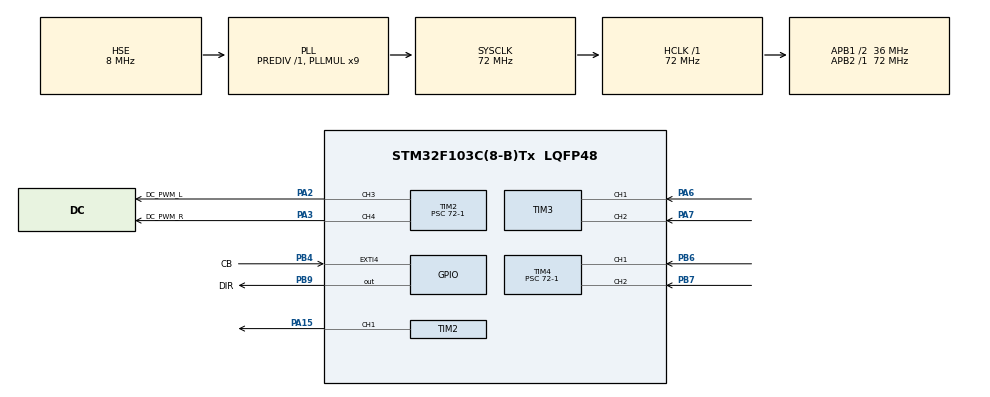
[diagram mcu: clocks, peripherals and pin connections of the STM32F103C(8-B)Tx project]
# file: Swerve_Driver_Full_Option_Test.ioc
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Mcu.Family=STM32F1
Mcu.Name=STM32F103C(8-B)Tx
Mcu.Package=LQFP48
NVIC.EXTI4_IRQn=true\:0\:0\:false\:false\:true\:true\:true\:true
NVIC.PriorityGroup=NVIC_PRIORITYGROUP_4
PA13.Mode=Serial_Wire
PA13.Signal=SYS_JTMS-SWDIO
PA14.Mode=Serial_Wire
PA14.Signal=SYS_JTCK-SWCLK
PA15.Signal=S_TIM2_CH1_ETR
PA2.GPIO_Label=DC_PWM_L
PA2.Signal=S_TIM2_CH3
PA3.GPIO_Label=DC_PWM_R
PA3.Signal=S_TIM2_CH4
PA6.Signal=S_TIM3_CH1
PA7.Signal=S_TIM3_CH2
PB4.GPIO_Label=CB
PB4.GPIO_ModeDefaultEXTI=GPIO_MODE_IT_FALLING
PB4.GPIO_PuPd=GPIO_PULLUP
PB4.Signal=GPXTI4
PB6.Signal=S_TIM4_CH1
PB7.Signal=S_TIM4_CH2
PB9.GPIO_Label=DIR
PB9.Signal=GPIO_Output
PD0-OSC_IN.Mode=HSE-External-Oscillator
PD0-OSC_IN.Signal=RCC_OSC_IN
PD1-OSC_OUT.Mode=HSE-External-Oscillator
PD1-OSC_OUT.Signal=RCC_OSC_OUT
ProjectManager.HeapSize=0x200
ProjectManager.StackSize=0x400
ProjectManager.TargetToolchain=STM32CubeIDE
RCC.AHBFreq_Value=72000000
RCC.APB1CLKDivider=RCC_HCLK_DIV2
RCC.APB1Freq_Value=36000000
RCC.APB1TimFreq_Value=72000000
RCC.APB2Freq_Value=72000000
RCC.APB2TimFreq_Value=72000000
RCC.HCLKFreq_Value=72000000
RCC.PLLMUL=RCC_PLL_MUL9
RCC.PLLSourceVirtual=RCC_PLLSOURCE_HSE
RCC.SYSCLKFreq_VALUE=72000000
RCC.SYSCLKSource=RCC_SYSCLKSOURCE_PLLCLK
RCC.USBFreq_Value=72000000
SH.S_TIM2_CH1_ETR.0=TIM2_CH1,PWM Generation1 CH1
SH.S_TIM2_CH3.0=TIM2_CH3,PWM Generation3 CH3
SH.S_TIM2_CH4.0=TIM2_CH4,PWM Generation4 CH4
SH.S_TIM3_CH1.0=TIM3_CH1,Encoder_Interface
SH.S_TIM3_CH2.0=TIM3_CH2,Encoder_Interface
SH.S_TIM4_CH1.0=TIM4_CH1,Encoder_Interface
SH.S_TIM4_CH2.0=TIM4_CH2,Encoder_Interface
TIM2.Channel-PWM\ Generation1\ CH1=TIM_CHANNEL_1
TIM2.Channel-PWM\ Generation3\ CH3=TIM_CHANNEL_3
TIM2.Channel-PWM\ Generation4\ CH4=TIM_CHANNEL_4
TIM2.Period=1000-1
TIM2.Prescaler=72-1
TIM3.IC1Polarity=TIM_ICPOLARITY_FALLING
TIM3.IC2Polarity=TIM_ICPOLARITY_FALLING
TIM4.EncoderMode=TIM_ENCODERMODE_TI12
TIM4.IC1Polarity=TIM_ICPOLARITY_FALLING
TIM4.IC2Polarity=TIM_ICPOLARITY_FALLING
TIM4.Period=1000-1
TIM4.Prescaler=72-1
board=custom

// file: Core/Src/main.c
/* USER CODE BEGIN Header */
/**
  ******************************************************************************
  * @file           : main.c
  * @brief          : Main program body
  ******************************************************************************
  * @attention
  *
  * Copyright (c) 2023 STMicroelectronics.
  * All rights reserved.
  *
  * This software is licensed under terms that can be found in the LICENSE file
  * in the root directory of this software component.
  * If no LICENSE file comes with this software, it is provided AS-IS.
  *
  ******************************************************************************
  */
/* USER CODE END Header */
#include "main.h"

TIM_HandleTypeDef htim2;
TIM_HandleTypeDef htim3;
TIM_HandleTypeDef htim4;

/* USER CODE BEGIN PV */
uint16_t pwm;
uint8_t wheeldir;
uint8_t angle;
uint16_t anglespeed;
uint8_t wheelecd;
uint8_t angleecd;
uint8_t count = 0;
/* USER CODE END PV */

void SystemClock_Config(void);
static void MX_GPIO_Init(void);
static void MX_TIM2_Init(void);
static void MX_TIM3_Init(void);
static void MX_TIM4_Init(void);

/* USER CODE BEGIN 0 */
void HAL_GPIO_EXTI_Callback(uint16_t GPIO_Pin){
	count++;
}
void Wheel_Speed(){
	__HAL_TIM_SET_COMPARE(&htim2, TIM_CHANNEL_1,pwm);
	HAL_GPIO_WritePin(DIR_GPIO_Port, DIR_Pin, wheeldir);
}
void Wheel_Angle(){
	if(angle == 0){
		__HAL_TIM_SET_COMPARE(&htim2, TIM_CHANNEL_4, 0);
		__HAL_TIM_SET_COMPARE(&htim2, TIM_CHANNEL_3, 0);
	}else if(angle == 1){
		__HAL_TIM_SET_COMPARE(&htim2, TIM_CHANNEL_4, anglespeed);
		__HAL_TIM_SET_COMPARE(&htim2, TIM_CHANNEL_3, 0);
	}else{
		__HAL_TIM_SET_COMPARE(&htim2, TIM_CHANNEL_3, anglespeed);
		__HAL_TIM_SET_COMPARE(&htim2, TIM_CHANNEL_4, 0);
	}
}
void Encoder_Get_Value(){
	wheelecd = __HAL_TIM_GET_COUNTER(&htim4);
	angleecd = __HAL_TIM_GET_COUNTER(&htim3);
}
/* USER CODE END 0 */

int main(void)
{

  /* MCU Configuration--------------------------------------------------------*/

  /* Reset of all peripherals, Initializes the Flash interface and the Systick. */
  HAL_Init();

  /* Configure the system clock */
  SystemClock_Config();

  /* Initialize all configured peripherals */
  MX_GPIO_Init();
  MX_TIM2_Init();
  MX_TIM3_Init();
  MX_TIM4_Init();
  /* USER CODE BEGIN 2 */

  HAL_TIM_PWM_Start(&htim2, TIM_CHANNEL_1);
  HAL_TIM_PWM_Start(&htim2, TIM_CHANNEL_3);
  HAL_TIM_PWM_Start(&htim2, TIM_CHANNEL_4);
  HAL_TIM_PWM_Start(&htim4, TIM_CHANNEL_4);
  HAL_TIM_Encoder_Start(&htim3, TIM_CHANNEL_ALL);
  HAL_TIM_Encoder_Start(&htim4, TIM_CHANNEL_ALL);
  /* USER CODE END 2 */

  /* Infinite loop */
  /* USER CODE BEGIN WHILE */
  while (1)
  {
	  Wheel_Angle();
	  Wheel_Speed();
	  Encoder_Get_Value();
    /* USER CODE END WHILE */

  }
}

void SystemClock_Config(void)
{
  RCC_OscInitTypeDef RCC_OscInitStruct = {0};
  RCC_ClkInitTypeDef RCC_ClkInitStruct = {0};

  /** Initializes the RCC Oscillators according to the specified parameters
  * in the RCC_OscInitTypeDef structure.
  */
  RCC_OscInitStruct.OscillatorType = RCC_OSCILLATORTYPE_HSE;
  RCC_OscInitStruct.HSEState = RCC_HSE_ON;
  RCC_OscInitStruct.HSEPredivValue = RCC_HSE_PREDIV_DIV1;
  RCC_OscInitStruct.HSIState = RCC_HSI_ON;
  RCC_OscInitStruct.PLL.PLLState = RCC_PLL_ON;
  RCC_OscInitStruct.PLL.PLLSource = RCC_PLLSOURCE_HSE;
  RCC_OscInitStruct.PLL.PLLMUL = RCC_PLL_MUL9;
  if (HAL_RCC_OscConfig(&RCC_OscInitStruct) != HAL_OK)
  {
    Error_Handler();
  }

  /** Initializes the CPU, AHB and APB buses clocks
  */
  RCC_ClkInitStruct.ClockType = RCC_CLOCKTYPE_HCLK|RCC_CLOCKTYPE_SYSCLK
                              |RCC_CLOCKTYPE_PCLK1|RCC_CLOCKTYPE_PCLK2;
  RCC_ClkInitStruct.SYSCLKSource = RCC_SYSCLKSOURCE_PLLCLK;
  RCC_ClkInitStruct.AHBCLKDivider = RCC_SYSCLK_DIV1;
  RCC_ClkInitStruct.APB1CLKDivider = RCC_HCLK_DIV2;
  RCC_ClkInitStruct.APB2CLKDivider = RCC_HCLK_DIV1;

  if (HAL_RCC_ClockConfig(&RCC_ClkInitStruct, FLASH_LATENCY_2) != HAL_OK)
  {
    Error_Handler();
  }
}

static void MX_TIM2_Init(void)
{

  TIM_MasterConfigTypeDef sMasterConfig = {0};
  TIM_OC_InitTypeDef sConfigOC = {0};

  htim2.Instance = TIM2;
  htim2.Init.Prescaler = 72-1;
  htim2.Init.CounterMode = TIM_COUNTERMODE_UP;
  htim2.Init.Period = 1000-1;
  htim2.Init.ClockDivision = TIM_CLOCKDIVISION_DIV1;
  htim2.Init.AutoReloadPreload = TIM_AUTORELOAD_PRELOAD_DISABLE;
  if (HAL_TIM_PWM_Init(&htim2) != HAL_OK)
  {
    Error_Handler();
  }
  sMasterConfig.MasterOutputTrigger = TIM_TRGO_RESET;
  sMasterConfig.MasterSlaveMode = TIM_MASTERSLAVEMODE_DISABLE;
  if (HAL_TIMEx_MasterConfigSynchronization(&htim2, &sMasterConfig) != HAL_OK)
  {
    Error_Handler();
  }
  sConfigOC.OCMode = TIM_OCMODE_PWM1;
  sConfigOC.Pulse = 0;
  sConfigOC.OCPolarity = TIM_OCPOLARITY_HIGH;
  sConfigOC.OCFastMode = TIM_OCFAST_DISABLE;
  if (HAL_TIM_PWM_ConfigChannel(&htim2, &sConfigOC, TIM_CHANNEL_1) != HAL_OK)
  {
    Error_Handler();
  }
  if (HAL_TIM_PWM_ConfigChannel(&htim2, &sConfigOC, TIM_CHANNEL_3) != HAL_OK)
  {
    Error_Handler();
  }
  if (HAL_TIM_PWM_ConfigChannel(&htim2, &sConfigOC, TIM_CHANNEL_4) != HAL_OK)
  {
    Error_Handler();
  }
  HAL_TIM_MspPostInit(&htim2);

}

static void MX_TIM3_Init(void)
{

  TIM_Encoder_InitTypeDef sConfig = {0};
  TIM_MasterConfigTypeDef sMasterConfig = {0};

  htim3.Instance = TIM3;
  htim3.Init.Prescaler = 0;
  htim3.Init.CounterMode = TIM_COUNTERMODE_UP;
  htim3.Init.Period = 65535;
  htim3.Init.ClockDivision = TIM_CLOCKDIVISION_DIV1;
  htim3.Init.AutoReloadPreload = TIM_AUTORELOAD_PRELOAD_DISABLE;
  sConfig.EncoderMode = TIM_ENCODERMODE_TI1;
  sConfig.IC1Polarity = TIM_ICPOLARITY_FALLING;
  sConfig.IC1Selection = TIM_ICSELECTION_DIRECTTI;
  sConfig.IC1Prescaler = TIM_ICPSC_DIV1;
  sConfig.IC1Filter = 0;
  sConfig.IC2Polarity = TIM_ICPOLARITY_FALLING;
  sConfig.IC2Selection = TIM_ICSELECTION_DIRECTTI;
  sConfig.IC2Prescaler = TIM_ICPSC_DIV1;
  sConfig.IC2Filter = 0;
  if (HAL_TIM_Encoder_Init(&htim3, &sConfig) != HAL_OK)
  {
    Error_Handler();
  }
  sMasterConfig.MasterOutputTrigger = TIM_TRGO_RESET;
  sMasterConfig.MasterSlaveMode = TIM_MASTERSLAVEMODE_DISABLE;
  if (HAL_TIMEx_MasterConfigSynchronization(&htim3, &sMasterConfig) != HAL_OK)
  {
    Error_Handler();
  }

}

static void MX_TIM4_Init(void)
{

  TIM_Encoder_InitTypeDef sConfig = {0};
  TIM_MasterConfigTypeDef sMasterConfig = {0};

  htim4.Instance = TIM4;
  htim4.Init.Prescaler = 72-1;
  htim4.Init.CounterMode = TIM_COUNTERMODE_UP;
  htim4.Init.Period = 1000-1;
  htim4.Init.ClockDivision = TIM_CLOCKDIVISION_DIV1;
  htim4.Init.AutoReloadPreload = TIM_AUTORELOAD_PRELOAD_DISABLE;
  sConfig.EncoderMode = TIM_ENCODERMODE_TI12;
  sConfig.IC1Polarity = TIM_ICPOLARITY_FALLING;
  sConfig.IC1Selection = TIM_ICSELECTION_DIRECTTI;
  sConfig.IC1Prescaler = TIM_ICPSC_DIV1;
  sConfig.IC1Filter = 0;
  sConfig.IC2Polarity = TIM_ICPOLARITY_FALLING;
  sConfig.IC2Selection = TIM_ICSELECTION_DIRECTTI;
  sConfig.IC2Prescaler = TIM_ICPSC_DIV1;
  sConfig.IC2Filter = 0;
  if (HAL_TIM_Encoder_Init(&htim4, &sConfig) != HAL_OK)
  {
    Error_Handler();
  }
  sMasterConfig.MasterOutputTrigger = TIM_TRGO_RESET;
  sMasterConfig.MasterSlaveMode = TIM_MASTERSLAVEMODE_DISABLE;
  if (HAL_TIMEx_MasterConfigSynchronization(&htim4, &sMasterConfig) != HAL_OK)
  {
    Error_Handler();
  }

}

static void MX_GPIO_Init(void)
{
  GPIO_InitTypeDef GPIO_InitStruct = {0};

  /* GPIO Ports Clock Enable */
  __HAL_RCC_GPIOD_CLK_ENABLE();
  __HAL_RCC_GPIOA_CLK_ENABLE();
  __HAL_RCC_GPIOB_CLK_ENABLE();

  /*Configure GPIO pin Output Level */
  HAL_GPIO_WritePin(DIR_GPIO_Port, DIR_Pin, GPIO_PIN_RESET);

  /*Configure GPIO pin : CB_Pin */
  GPIO_InitStruct.Pin = CB_Pin;
  GPIO_InitStruct.Mode = GPIO_MODE_IT_FALLING;
  GPIO_InitStruct.Pull = GPIO_PULLUP;
  HAL_GPIO_Init(CB_GPIO_Port, &GPIO_InitStruct);

  /*Configure GPIO pin : DIR_Pin */
  GPIO_InitStruct.Pin = DIR_Pin;
  GPIO_InitStruct.Mode = GPIO_MODE_OUTPUT_PP;
  GPIO_InitStruct.Pull = GPIO_NOPULL;
  GPIO_InitStruct.Speed = GPIO_SPEED_FREQ_LOW;
  HAL_GPIO_Init(DIR_GPIO_Port, &GPIO_InitStruct);

  /* EXTI interrupt init*/
  HAL_NVIC_SetPriority(EXTI4_IRQn, 0, 0);
  HAL_NVIC_EnableIRQ(EXTI4_IRQn);

}

void Error_Handler(void)
{
  __disable_irq();
  while (1)
  {
  }
}
